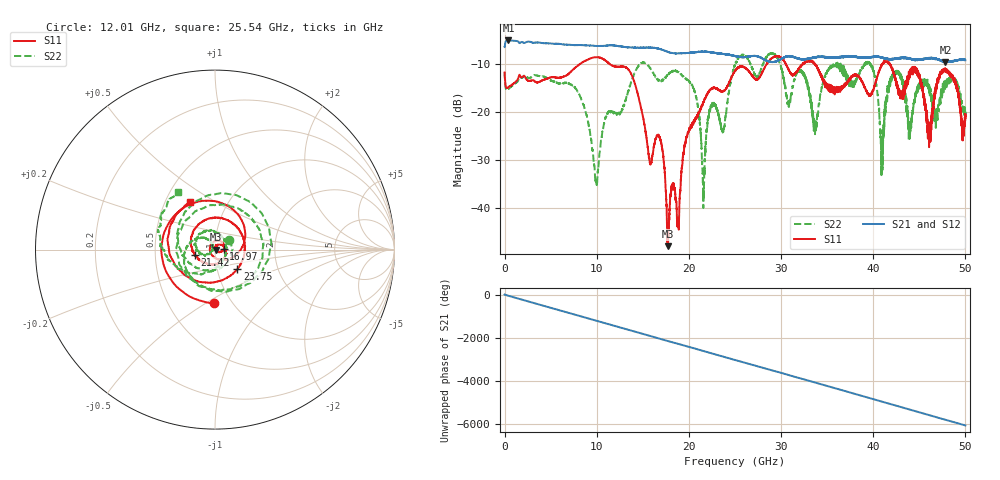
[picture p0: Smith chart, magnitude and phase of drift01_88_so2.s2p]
!Created with skrf (http://scikit-rf.org).
# Hz S RI R 50.0
!freq ReS11 ImS11 ReS21 ImS21 ReS12 ImS12 ReS22 ImS22
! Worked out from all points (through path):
!   10001 points, 300 kHz to 50 GHz, reference 50 ohm
!   highest |S21| = -5.05 dB at 410.3 MHz (marker M1); lowest = -9.6 dB at 47.84 GHz (marker M2)
!   group delay of S21, straight-line fit = 336 ps
!   lowest |S11| = -48.1 dB at 17.69 GHz (marker M3), VSWR 1.01, Z = 50.4 - j0.119 ohm
!   |S11| at or under -10 dB: start of sweep to 8.164 GHz; 11.43 GHz to 28.42 GHz (16.99 GHz wide, 85.3 % of centre); 41.79 GHz to end of sweep (the widest 3 of 15)
!   |S22| runs from -40.1 to -7.7 dB; largest |S21 - S12| = 0.014
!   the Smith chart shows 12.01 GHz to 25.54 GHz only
!   S11 on the Smith chart (normalised r, x): 12.01 GHz: 0.83, -0.54; 16.97 GHz: 1.10, +0.01; 21.42 GHz: 0.80, -0.05; 23.75 GHz: 1.25, -0.28; 25.54 GHz: 0.66, +0.38
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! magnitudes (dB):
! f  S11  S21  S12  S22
! 300 kHz  -11.8  -6.4  -6.5  -11.7
! 410.3 MHz  -14.8  -5.1  -5.1  -15.2
! 8.335 GHz  -9.8  -6.0  -6.0  -17.5
! 9.94 GHz  -8.5  -6.2  -6.2  -34.5
! 12.01 GHz  -10.5  -6.1  -6.1  -20.4
! 16.67 GHz  -24.7  -6.7  -6.7  -13.3
! 16.97 GHz  -26.3  -6.9  -6.9  -13.4
! 17.69 GHz  -48.1  -7.4  -7.4  -12.3
! 20.47 GHz  -22.5  -7.5  -7.5  -14.9
! 21.42 GHz  -18.7  -7.4  -7.4  -29.7
! 22.47 GHz  -15.1  -7.5  -7.6  -19.1
! 23.75 GHz  -15.6  -7.9  -7.8  -23.9
! 25 GHz  -11.4  -8.3  -8.3  -10.3
! 25.54 GHz  -10.5  -8.5  -8.5  -8.4
! 33.34 GHz  -9.4  -8.7  -8.7  -19.5
! 39.48 GHz  -16.3  -8.6  -8.6  -10.0
! 40.95 GHz  -10.1  -8.6  -8.6  -29.6
! 41.67 GHz  -9.6  -8.9  -9.0  -14.9
! 44.76 GHz  -11.7  -9.1  -9.0  -15.6
! 46.1 GHz  -26.3  -8.8  -8.8  -15.2
! 47.84 GHz  -11.2  -9.6  -9.6  -14.3
! 50 GHz  -20.9  -9.2  -9.0  -20.8
